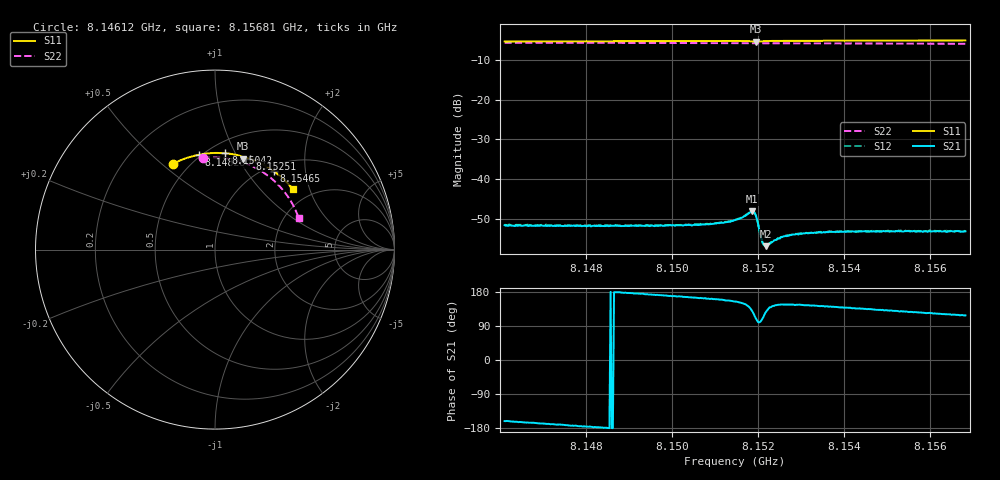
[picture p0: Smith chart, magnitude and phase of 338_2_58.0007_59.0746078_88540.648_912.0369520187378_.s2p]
#  HZ  S  RI  R  50.00
! Rohde & Schwarz Vector Network Analyzer
! Rohde-Schwarz,ZNB20-2Port,1311601062101988,3.16
! Created: UTC 3/21/2024, 1:05:23 AM
! freq[Hz]  re:S11  im:S11  re:S21  im:S21  re:S12  im:S12  re:S22  im:S22
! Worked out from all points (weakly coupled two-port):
!   401 points, 8.14612 GHz to 8.15681 GHz, reference 50 ohm
!   highest |S21| = -47.98 dB at 8.15187 GHz (marker M1); lowest = -56.7 dB at 8.15219 GHz (marker M2)
!   lowest |S11| = -5.5 dB at 8.15195 GHz (marker M3), VSWR 3.26, Z = 37.2 + j52.4 ohm
!   |S11| at or under -10 dB: nowhere
!   |S22| runs from -6.1 to -5.8 dB; largest |S21 - S12| = 0.00014
!   S11 on the Smith chart (normalised r, x): 8.14612 GHz: 0.41, +0.55; 8.14828 GHz: 0.49, +0.72; 8.15042 GHz: 0.60, +0.91; 8.15251 GHz: 0.78, +1.12; 8.15465 GHz: 1.09, +1.36; 8.15681 GHz: 1.61, +1.55
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8.146117e9  -0.2332 0.4784  -0.00253 -0.000861  -0.00258 -0.000835  -0.0679 0.5098
8.147908e9  -0.1162 0.5229  -0.00259 -0.000225  -0.00267 -0.000222  0.0495 0.5102
8.148283e9  -0.0908 0.5284  -0.00262 -0.000119  -0.00264 -2.14e-05  0.0737 0.5067
8.1497e9  0.00724 0.5386  -0.0026 0.000403  -0.00264 0.000429  0.1623 0.4835
8.150422e9  0.0575 0.5369  -0.00261 0.000677  -0.00259 0.000726  0.2054 0.466
8.15093e9  0.0929 0.5325  -0.00263 0.000872  -0.00266 0.000972  0.2343 0.4512
8.151465e9  0.1305 0.5248  -0.00278 0.00136  -0.00277 0.00138  0.2636 0.4337
8.151598e9  0.1404 0.522  -0.00287 0.00156  -0.00289 0.00164  0.2707 0.4288
8.151866e9  0.1581 0.5102  -0.00249 0.00312  -0.00248 0.00316  0.2847 0.4191
8.151919e9  0.1584 0.5071  -0.00169 0.00342  -0.0017 0.00348  0.2872 0.4169
8.151946e9  0.1578 0.5064  -0.00124 0.00335  -0.00118 0.00338  0.2886 0.416
8.151973e9  0.1573 0.5067  -0.000808 0.00309  -0.000776 0.00316  0.2899 0.415
8.15208e9  0.1614 0.5108  -0.000461 0.00172  -0.000444 0.00174  0.2952 0.4114
8.152106e9  0.1635 0.5115  -0.000547 0.00152  -0.000537 0.0015  0.2966 0.4103
8.152133e9  0.1657 0.5119  -0.00066 0.00137  -0.000671 0.00137  0.2981 0.4092
8.152187e9  0.1702 0.5119  -0.000888 0.00116  -0.000886 0.00118  0.3008 0.4073
8.152507e9  0.194 0.5064  -0.00151 0.00102  -0.00154 0.00105  0.3167 0.3945
8.152828e9  0.2158 0.4988  -0.0017 0.00114  -0.00168 0.00116  0.3321 0.3811
8.153256e9  0.2433 0.4866  -0.00173 0.00127  -0.00172 0.00131  0.3514 0.3623
8.154646e9  0.3262 0.438  -0.00154 0.0016  -0.00154 0.00168  0.4067 0.2948
8.155048e9  0.3482 0.4213  -0.00143 0.0017  -0.00144 0.00171  0.4203 0.2738
8.156812e9  0.434 0.3358  -0.00104 0.00198  -0.00103 0.00198  0.4666 0.1749
